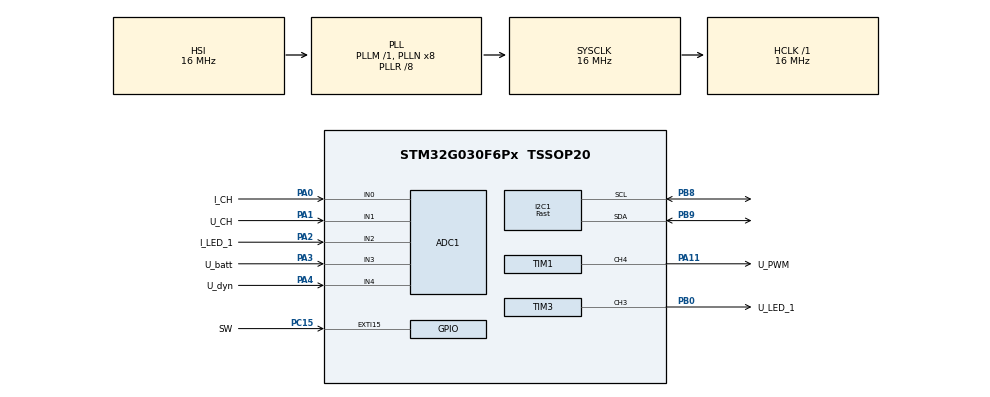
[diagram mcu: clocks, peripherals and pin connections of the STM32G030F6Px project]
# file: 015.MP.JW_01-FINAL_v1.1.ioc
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ADC1.Channel-0\#ChannelRegularConversion=ADC_CHANNEL_0
ADC1.Channel-1\#ChannelRegularConversion=ADC_CHANNEL_1
ADC1.Channel-2\#ChannelRegularConversion=ADC_CHANNEL_2
ADC1.Channel-3\#ChannelRegularConversion=ADC_CHANNEL_3
ADC1.Channel-4\#ChannelRegularConversion=ADC_CHANNEL_4
ADC1.ClockPrescaler=ADC_CLOCK_SYNC_PCLK_DIV4
ADC1.ContinuousConvMode=ENABLE
ADC1.DMAContinuousRequests=ENABLE
ADC1.EOCSelection=ADC_EOC_SINGLE_CONV
ADC1.LowPowerAutoWait=DISABLE
ADC1.NbrOfConversion=5
ADC1.NbrOfConversionFlag=1
ADC1.Overrun=ADC_OVR_DATA_PRESERVED
ADC1.OversamplingMode=ENABLE
ADC1.Rank-0\#ChannelRegularConversion=1
ADC1.Rank-1\#ChannelRegularConversion=2
ADC1.Rank-2\#ChannelRegularConversion=3
ADC1.Rank-3\#ChannelRegularConversion=4
ADC1.Rank-4\#ChannelRegularConversion=5
ADC1.Ratio=ADC_OVERSAMPLING_RATIO_256
ADC1.RightBitShift=ADC_RIGHTBITSHIFT_8
ADC1.SamplingTime-0\#ChannelRegularConversion=ADC_SAMPLINGTIME_COMMON_1
ADC1.SamplingTime-1\#ChannelRegularConversion=ADC_SAMPLINGTIME_COMMON_1
ADC1.SamplingTime-2\#ChannelRegularConversion=ADC_SAMPLINGTIME_COMMON_1
ADC1.SamplingTime-3\#ChannelRegularConversion=ADC_SAMPLINGTIME_COMMON_1
ADC1.SamplingTime-4\#ChannelRegularConversion=ADC_SAMPLINGTIME_COMMON_1
ADC1.SamplingTimeCommon1=ADC_SAMPLETIME_160CYCLES_5
ADC1.SamplingTimeCommon2=ADC_SAMPLETIME_160CYCLES_5
ADC1.SelectedChannel=ADC_CHANNEL_0|ADC_CHANNEL_1|ADC_CHANNEL_2|ADC_CHANNEL_3|ADC_CHANNEL_4
ADC1.TriggerFrequencyMode=ADC_TRIGGER_FREQ_LOW
ADC1.TriggeredMode=ADC_TRIGGEREDMODE_SINGLE_TRIGGER
ADC1.master=1
Dma.ADC1.0.Direction=DMA_PERIPH_TO_MEMORY
Dma.ADC1.0.EventEnable=DISABLE
Dma.ADC1.0.Instance=DMA1_Channel1
Dma.ADC1.0.MemDataAlignment=DMA_MDATAALIGN_WORD
Dma.ADC1.0.MemInc=DMA_MINC_ENABLE
Dma.ADC1.0.Mode=DMA_CIRCULAR
Dma.ADC1.0.PeriphDataAlignment=DMA_PDATAALIGN_WORD
Dma.ADC1.0.PeriphInc=DMA_PINC_DISABLE
Dma.ADC1.0.Polarity=HAL_DMAMUX_REQ_GEN_RISING
Dma.ADC1.0.Priority=DMA_PRIORITY_LOW
Dma.ADC1.0.RequestNumber=1
Dma.ADC1.0.SignalID=NONE
Dma.ADC1.0.SyncEnable=DISABLE
Dma.ADC1.0.SyncPolarity=HAL_DMAMUX_SYNC_NO_EVENT
Dma.ADC1.0.SyncRequestNumber=1
Dma.ADC1.0.SyncSignalID=NONE
Dma.Request0=ADC1
I2C1.I2C_Speed_Mode=I2C_Fast
I2C1.Timing=0x0010061A
Mcu.Family=STM32G0
Mcu.Name=STM32G030F6Px
Mcu.Package=TSSOP20
NVIC.DMA1_Channel1_IRQn=true\:2\:0\:true\:false\:true\:false\:true\:true
NVIC.EXTI4_15_IRQn=true\:1\:0\:true\:false\:true\:true\:true\:true
NVIC.TIM14_IRQn=true\:3\:0\:true\:false\:true\:true\:true\:true
PA0.GPIO_Label=I_CH
PA0.Mode=IN0
PA0.Signal=ADC1_IN0
PA1.GPIO_Label=U_CH
PA1.Mode=IN1
PA1.Signal=ADC1_IN1
PA11\ [PA9].GPIO_Label=U_PWM
PA11\ [PA9].Signal=S_TIM1_CH4
PA14-BOOT0__PA15.StandardMode=true
PA2.GPIO_Label=I_LED_1
PA2.Mode=IN2
PA2.Signal=ADC1_IN2
PA3.GPIO_Label=U_batt
PA3.Mode=IN3
PA3.Signal=ADC1_IN3
PA4.GPIO_Label=U_dyn
PA4.Mode=IN4
PA4.Signal=ADC1_IN4
PB0.GPIO_Label=U_LED_1
PB0.Signal=S_TIM3_CH3
PB0__PB1__PB2__PA8.StandardMode=true
PB3__PB4__PB5__PB6.StandardMode=true
PB7__PB8.StandardMode=true
PB8.Mode=I2C
PB8.Signal=I2C1_SCL
PB9.Mode=I2C
PB9.Signal=I2C1_SDA
PC14-OSC32_IN\ (PC14)__PB9.StandardMode=true
PC15-OSC32_OUT\ (PC15).GPIO_Label=SW
PC15-OSC32_OUT\ (PC15).GPIO_ModeDefaultEXTI=GPIO_MODE_IT_FALLING
PC15-OSC32_OUT\ (PC15).GPIO_PuPd=GPIO_PULLUP
PC15-OSC32_OUT\ (PC15).Signal=GPXTI15
ProjectManager.HeapSize=0x200
ProjectManager.StackSize=0x400
ProjectManager.TargetToolchain=STM32CubeIDE
RCC.ADCCLockSelection=RCC_ADCCLKSOURCE_PLLADC
RCC.ADCFreq_Value=4000000
RCC.AHBFreq_Value=16000000
RCC.CortexFreq_Value=16000000
RCC.EXTERNAL_CLOCK_VALUE=12288000
RCC.HCLKFreq_Value=16000000
RCC.HSE_VALUE=8000000
RCC.HSI_VALUE=16000000
RCC.LSE_VALUE=32768
RCC.PLLP=RCC_PLLP_DIV32
RCC.PLLR=RCC_PLLR_DIV8
RCC.SYSCLKFreq_VALUE=16000000
RCC.SYSCLKSource=RCC_SYSCLKSOURCE_PLLCLK
RCC.VCOOutputFreq_Value=128000000
SH.S_TIM1_CH4.0=TIM1_CH4,PWM Generation4 CH4
SH.S_TIM3_CH3.0=TIM3_CH3,PWM Generation3 CH3
TIM1.AutoReloadPreload=TIM_AUTORELOAD_PRELOAD_ENABLE
TIM1.Channel-PWM\ Generation4\ CH4=TIM_CHANNEL_4
TIM1.Period=159
TIM1.Prescaler=1
TIM14.AutoReloadPreload=TIM_AUTORELOAD_PRELOAD_ENABLE
TIM14.Channel=TIM_CHANNEL_1
TIM14.ClockDivision=TIM_CLOCKDIVISION_DIV4
TIM14.Period=399
TIM14.Prescaler=9999
TIM3.AutoReloadPreload=TIM_AUTORELOAD_PRELOAD_ENABLE
TIM3.Channel-PWM\ Generation3\ CH3=TIM_CHANNEL_3
TIM3.Period=99
TIM3.Prescaler=15
VP_TIM14_VS_ClockSourceINT.Mode=Enable_Timer
VP_TIM14_VS_no_output1.Mode=Output Compare1 No Output
VP_TIM3_VS_ClockSourceINT.Mode=Internal
board=custom

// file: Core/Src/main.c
/* USER CODE BEGIN Header */
/**
  ******************************************************************************
  * @file           : main.c
  * @brief          : Main program body
  ******************************************************************************
  * @attention
  *
  * Copyright (c) 2023 STMicroelectronics.
  * All rights reserved.
  *
  * This software is licensed under terms that can be found in the LICENSE file
  * in the root directory of this software component.
  * If no LICENSE file comes with this software, it is provided AS-IS.
  *
  ******************************************************************************
  */
/* USER CODE END Header */
#include "main.h"
#include "adc.h"
#include "dma.h"
#include "i2c.h"
#include "tim.h"
#include "gpio.h"

/* USER CODE BEGIN Includes */
#include "fonts.h"
#include "ssd1306.h"
#include "ftoa.h"

/* USER CODE END Includes */

/* USER CODE BEGIN PD */
//ad voltage divider
#define n_dyn 3.14f //dynamo
#define n_batt 3.14f//battery
#define n_U_USB_converter 3.14f//USB
//adc and pwm coeficients
#define i_current_out 350.0f //adc current output after converting
#define u_voltage_in 0.19f //adc voltage input before converting to current V
#define i_current_add 20.0f //correction factor for adc current measure mA
#define u_voltage_add 0.2f	//correction factor for adc current measure V
#define u_voltage_boost_factor 0.1f	//factor to control voltage from step up
#define i_usb_current_max 2500.0f	//usb max current mA
#define i_led_current_max 1000.0f	//led max current mA
#define i_noise 30.0f	//noise current value mA
#define u_max_d_b_voltage 10.f	//max voltage for battery and dynamo
#define u_voltage_bridge_d 0.7f	//voltage losses
#define u_d_voltage_load 4.0f	//dynamo load voltage
#define u_low_batt 3.4f	//low battery voltage
#define u_usb_min_out 4.50f	//min usb voltage output V
#define u_usb_max_out 6.0f	//max usb voltage output V
#define u_usb_ov_offset 0.5f	//offset to overvoltage in usb
#define i_usb_min_out	5 //minimal usb current output to work mA - to confirm connected device to usb port
#define vcc_manage_his	0.2f	//histeresa to vcc manage
#define usb_pwm_min 1		//min value pwm to boost converter usb %
#define usb_pwm_max	55  	//max value pwm to boost converter usb %
//power mode coeficients
//batt ok dynamo ok
#define u_batt_ok 3.6f	//batt voltage value ok
#define u_dynamo_ok 5.2f	//dynamo voltage value ok

#define led_power_mode_1 100	//%
#define usb_power_mode_1 100	//%
//batt ok dynamo nok
#define led_power_mode_2 70
#define usb_power_mode_2 50
//batt nok dynamo ok
#define led_power_mode_3 90
#define usb_power_mode_3 40
//batt nok dynamo nok
#define led_power_mode_4 70
#define usb_power_mode_4 30

//others
#define I_USB_max_1 1000 //USB max current output for mode USB
#define I_USB_max_2 600 //USB max current output for mode COM
#define I_LED1_max 600 //led current max mA
#define LED_max_1 100	//led max power for led mode
#define LED_max_2 70	//led max power for common mode
#define mes_size 5	//number adc channels
#define U_reff 3.27f //ref voltage, uC supply voltage V
#define res_adc 4096.0f//adc resolution
#define logn_click_time 3	//time for long click
#define blink_time 1	//time led blinking

/*
 * >>>>>>>>>>>>>>>>>>>>>>>>>>>>>>>>>>>>>>
 * add:
 * -long push for switch - WORK
 * -turn off screen - canceled
 * -blink led mode - WORK
 *
 * removed:
 * -low batt alert
 */

/* USER CODE END PD */

/* USER CODE BEGIN PV */
//general variables
uint8_t mode_short = 0; //switch short click
uint8_t mode_long = 0; //switch long click
uint8_t mode_vcc_led = 0; //led max power coeffcient
uint8_t mode_vcc_usb = 0; //usb max power coefficient

//text buffer
char snum[10];	// OLED
char OLED_txt [6];	//mode
char E_L_txt; //led error
char E_B_txt; //usb error
//buffer for data from adc
uint32_t value_conv[mes_size]; //fresh ADC
float value_voltage[mes_size]; //after converting ADC
//timer
uint8_t timer_counter_1 = 0;	//timer errors LED
uint8_t timer_counter_2 = 0;	//timer long click
uint8_t timer_counter_3 = 0;	//timer turn off oled

//USB
//current
uint16_t bb_pwm_set = 0; //boost converter set pwm value
uint16_t bb_current_set = 0; //boost converter set current value
uint16_t bb_current_mes = 0; //boost converter measure current value
//voltage
float bb_voltage_set = 0.0f; ///boost converter set voltage value
float bb_voltage_mes = 0.0f; ///boost converter measure voltage value
float bb_power_mes = 0.0f; //boost converter measure power
//errors
uint8_t bb_error = 0;	//error code
uint8_t bb_error_critical = 0;	//critical error code

//LED
uint16_t led_power_pwm= 0;	//led pwm
uint16_t led_power_mes= 0;	//led current measure
uint16_t led_power_set= 0;	//led current set
//errors
uint8_t led_error =0;	//error code
uint8_t led_error_critical =0;	//critical error code

//
/* USER CODE END PV */

void SystemClock_Config(void);
/* USER CODE BEGIN PFP */

//useful PFP
//map
long map(long x, long in_min, long in_max, long out_min, long out_max) {
  return (x - in_min) * (out_max - out_min) / (in_max - in_min) + out_min;
}
//float map
float map_f(float x, float in_min, float in_max, float out_min, float out_max) {
  return (x - in_min) * (out_max - out_min) / (in_max - in_min) + out_min;
}

//constrain
long constrain(long x,long  a,long b) {
    if(x < a) {
        return a;
    }
    else if(b < x) {
        return b;
    }
    else
        return x;
}

//float constrain
float constrain_f (float x,float  a,float b) {
    if(x < a) {
        return a;
    }
    else if(b < x) {
        return b;
    }
    else
        return x;
}

//ADC read and converting
void adc_read (void)
{

	//USB current- OK
	  value_voltage[0]=(U_reff/res_adc)*value_conv[0];
	  value_voltage[0]=map_f(value_voltage[0], 0.0f ,u_voltage_in,0.0f,i_current_out)+i_current_add;
	  if(value_voltage[0]<i_noise)
	 {
		  value_voltage[0]=0;
	  }
	  value_voltage[0] = constrain_f( value_voltage[0], 0.0f, i_usb_current_max);
	  bb_current_mes= value_voltage[0];

	  //USB voltage - OK
	  value_voltage[1]=(U_reff/res_adc)*value_conv[1];
	  value_voltage[1]=value_voltage[1]*n_U_USB_converter;
	  bb_voltage_mes = value_voltage[1] + u_voltage_add;

	  //LED current - OK
	  /*measured value
	   * 0,35A - load current
	   * 0,19V - pin adc voltage
	   */
	  value_voltage[2]=(U_reff/res_adc)*value_conv[2]; //voltage from resistor to current measure
	  value_voltage[2]=map_f(value_voltage[2], 0.0f ,u_voltage_in,0.0f,i_current_out)+i_current_add;
	  if(value_voltage[2]<i_noise)
	  {
		  value_voltage[2]=0;
	  }
	  value_voltage[2] = constrain_f( value_voltage[2], 0.0f, i_led_current_max);
	  led_power_mes = value_voltage[2];

	  //battery voltage - OK
	  value_voltage[3]=(U_reff/res_adc)*value_conv[3];
	  value_voltage[3]=(value_voltage[3]*n_batt);
	  value_voltage[3] = constrain_f(value_voltage[3], 0.0f ,u_max_d_b_voltage);

	  //dynamo voltage - OK
	  value_voltage[4]=(U_reff/res_adc)*value_conv[4];
	  value_voltage[4]=(value_voltage[4]*n_dyn);
	  value_voltage[4] = constrain_f(value_voltage[4], 0.0f ,u_max_d_b_voltage);

	  //diode voltage adding with load
	  if(value_voltage[4]>u_d_voltage_load)
	  {
		  value_voltage[4] = value_voltage[4] + u_voltage_bridge_d;
	  }

	  //boost converter calculation mA*V/1000
	  bb_power_mes = (bb_voltage_mes * bb_current_mes)/1000.0f;

}

//USB boost converter
void USB_charger (void)
{
	 //set the voltage in proportion to the current
	  if(bb_current_set<bb_current_mes)
	  {
	  bb_voltage_set=bb_voltage_set-u_voltage_boost_factor;
	  }
	  else if(bb_current_set>bb_current_mes)
	  {
	  bb_voltage_set=bb_voltage_set+u_voltage_boost_factor;
	  }
	  else
	  {
	  }
	  bb_voltage_set = constrain_f(bb_voltage_set, u_usb_min_out, u_usb_max_out);

	  //set pwm
	  if((bb_current_set!=0)&&(bb_error==0)&&(bb_error_critical==0))
		{

			if(bb_voltage_mes<bb_voltage_set)
			{
				bb_pwm_set++;
			}
			else if(bb_voltage_mes>bb_voltage_set)
			{
				bb_pwm_set--;
			}
			else
			{

			}
			bb_pwm_set = constrain(bb_pwm_set, ((160*usb_pwm_min)/100), ((160*usb_pwm_max)/100));	//set pwm range as additional condition

				//unplug additional protection

				 if((bb_voltage_mes>=u_usb_max_out)&&(bb_current_mes<=i_usb_min_out))
				 {

				 bb_pwm_set = 2;
				 }
				 else
				 {
				 //set pwm
				bb_pwm_set = bb_pwm_set;
				 }

		}
		else
		{
			bb_pwm_set = 0;
		}

	 __HAL_TIM_SET_COMPARE(&htim1, TIM_CHANNEL_4, bb_pwm_set); //set pwm
}

//led work
void LED_work (void)
{
		if((led_power_set!=0)&&(led_error==0)&&(led_error_critical==0))
		{
				led_power_mes = map( led_power_mes, 0, I_LED1_max, 0, 100 ); //change current range to pwm range, dependet upon max led current

				if(led_power_mes<led_power_set)
				{
					led_power_pwm++;
				}
				else if(led_power_mes>led_power_set)
				{
					led_power_pwm-- ;
				}
				else
				{
				}
		}
		else
		{
			led_power_pwm  = 0;
		}

	led_power_pwm = constrain ( led_power_pwm, 0, 100); //adjust pwm range to arr range
	__HAL_TIM_SET_COMPARE(&htim3, TIM_CHANNEL_3, led_power_pwm); //set pwm
}

//vcc control system
void vcc_managment (void)
{

	if((value_voltage[4]>u_dynamo_ok)&&(value_voltage[3]>u_batt_ok+vcc_manage_his)) //dynamo ok and batt ok
	{
		mode_vcc_led=led_power_mode_1;
		mode_vcc_usb=usb_power_mode_1;
	}
	else if ((value_voltage[4]<=u_dynamo_ok)&&(value_voltage[3]>u_batt_ok+vcc_manage_his))	//dynamo nok and batt ok
	{
		mode_vcc_led=led_power_mode_2;
		mode_vcc_usb=usb_power_mode_2;
	}
	else if ((value_voltage[4]>u_dynamo_ok)&&(value_voltage[3]<=u_batt_ok))	// dynamo ok and batt nok
	{
		mode_vcc_led=led_power_mode_3;
		mode_vcc_usb=usb_power_mode_3;
	}
	else if ((value_voltage[4]<u_dynamo_ok)&&(value_voltage[3]<=u_batt_ok))	//dynamo nok and batt nok
	{
		mode_vcc_led=led_power_mode_4;
		mode_vcc_usb=usb_power_mode_4;
	}
	else
	{

	}
}

//main screen with parameters
void OLED_main (void)
{
	  //batt voltage
	  SSD1306_GotoXY (0,0);
	  SSD1306_Puts ("U[V] ", &Font_6x8, 1);
	  SSD1306_Puts ("Bat ", &Font_6x8, 1);
	  ftoa(snum, value_voltage[3], 1);
	  SSD1306_Puts (snum, &Font_6x8, 1);

	  //dynamo voltage
	  SSD1306_Puts (" Dyn ", &Font_6x8, 1);
	  ftoa(snum, value_voltage[4], 1);
	  SSD1306_Puts (snum, &Font_6x8, 1);

	  //current mode
	  SSD1306_GotoXY (0,8);
	  SSD1306_Puts ("MODE: ", &Font_6x8, 1);
	  SSD1306_Puts (OLED_txt, &Font_6x8, 1);
	  //error code
	  if((led_error!=0)||(led_error_critical!=0)||(bb_error!=0)||(bb_error_critical!=0))
	  {
	  SSD1306_GotoXY (70,8);
	  SSD1306_Puts ("ErrLB", &Font_6x8, 1);
	  SSD1306_Putc (E_L_txt, &Font_6x8, 1);
	  SSD1306_Putc (E_B_txt, &Font_6x8, 1);
	  }
	  else
	  {
	  SSD1306_GotoXY (70,8);
      SSD1306_Puts ("       ", &Font_6x8, 1);
	  }

	  //led power/current
	  SSD1306_GotoXY (0,16);
	  SSD1306_Puts ("LED[%]: ", &Font_6x8, 1);
	  itoa(led_power_set,snum,10);
	  SSD1306_Puts (snum, &Font_6x8, 1);
	  SSD1306_Puts ("  ", &Font_6x8, 1);
	  SSD1306_Puts (" |mA ", &Font_6x8, 1);
	  itoa(led_power_mes,snum,10);
	  SSD1306_Puts (snum, &Font_6x8, 1);
	  SSD1306_Puts ("   ", &Font_6x8, 1);

	  //USB currents
	  SSD1306_GotoXY (0,24);
	  SSD1306_Puts ("USB[mA]: ", &Font_6x8, 1);
	  itoa(bb_current_mes,snum,10);
	  SSD1306_Puts (snum, &Font_6x8, 1);
	  SSD1306_Puts (" | ", &Font_6x8, 1);
	  itoa(bb_current_set,snum,10);
	  SSD1306_Puts (snum, &Font_6x8, 1);
	  SSD1306_Puts ("   ", &Font_6x8, 1);

	  SSD1306_UpdateScreen();
}

//diagnostic
void diagnostic (void)
{
	//led - value in mA in 0-100 range
	if(led_power_set!=0)
	{
		if(value_voltage[2]<5)
		{
			if(timer_counter_1>5)	//timer delay
			{
			led_error = 1;	//led circuit is open
			E_L_txt='1';
			}
		}
		/*
		else if(led_power_mes=<((led_power_set/2)-1)&&(led_power_set!=0))
		{
			if(timer_counter_1>10) //timer delay
			{
			led_error = 2;	//one led doesnt work
			E_L_txt[0]='2';
			}
		}
		*/
		else if(led_power_mes>(led_power_mes+10))
		{
			led_error = 3;	//short circuit
			E_L_txt='3';
			led_error_critical = 0;
		}
		else
		{
			led_error = 0;
			timer_counter_1=0;
		}
	}
	else
	{
		led_error = 0;
		timer_counter_1=0;
	}
	//set error code in text
	if(led_error>0)
	{
	//itoa(led_error,E_L_txt,10);
	}
	else
	{
	E_L_txt='0';
	}

	//usb/boost converter errors errors
	if((bb_current_set!=0)&&(bb_current_mes>(bb_current_set*2)))
	{
		bb_error = 3;	//zwarcie
		E_B_txt='3';
		bb_error_critical = 0;
	}
	else if((bb_current_set!=0)&&(bb_voltage_mes>(u_usb_max_out+u_usb_ov_offset) ))
	{

		bb_error = 4;	//zwarcie
		E_B_txt='4';
		bb_error_critical = 0;
	}
	else
	{
		bb_error = 0;
	}
	//set error code in text
	if(bb_error>0)
	{
	//itoa(bb_error,E_B_txt,10);
	}
	else
	{
	E_B_txt='0';
	}

}

//long click fir switch - no tested
void long_switch (void)
{

	if (HAL_GPIO_ReadPin(SW_GPIO_Port, SW_Pin)!=1)
	{
		if(timer_counter_2>=logn_click_time)
		{
			mode_long++;	//add long click interupt
			mode_short--;	//cancle short click interupt
			timer_counter_2=0;
		}
		else
		{

		}
	}
	else
	{
		timer_counter_2=0;
	}

	//reset state
	if(mode_long>=2)
	{
		mode_long =0;
	}
	else
	{

	}

}

/* USER CODE END PFP */

/* USER CODE BEGIN 0 */

//switch int
void HAL_GPIO_EXTI_Falling_Callback(uint16_t GPIO_Pin)
{
	if(GPIO_Pin == SW_Pin)
	{
		mode_short++;
		}
}

//timer int 1 s
void HAL_TIM_PeriodElapsedCallback(TIM_HandleTypeDef *htim) {
	if (htim->Instance == TIM14) {
		timer_counter_1++;	//timer for current control in errors function LED
		timer_counter_2++;	//timer for long click switch
		timer_counter_3++;	//timer for led blink
	}
}
/* USER CODE END 0 */

int main(void)
{

  /* MCU Configuration--------------------------------------------------------*/

  /* Reset of all peripherals, Initializes the Flash interface and the Systick. */
  HAL_Init();

  /* Configure the system clock */
  SystemClock_Config();

  /* Initialize all configured peripherals */
  MX_GPIO_Init();
  MX_DMA_Init();
  MX_ADC1_Init();
  MX_I2C1_Init();
  MX_TIM1_Init();
  MX_TIM3_Init();
  MX_TIM14_Init();
  /* USER CODE BEGIN 2 */

  //inits
   HAL_ADCEx_Calibration_Start(&hadc1);	//adc calibration
   HAL_ADC_Start_DMA(&hadc1, value_conv, mes_size); //adc dma
   HAL_TIM_PWM_Start(&htim1, TIM_CHANNEL_4); 	//active pwm 100 kHz
   HAL_TIM_PWM_Start(&htim3, TIM_CHANNEL_3); 	//active pwm 10 kHz
   HAL_TIM_Base_Start_IT(&htim14);	//activetimer 1 Hz
   SSD1306_Init(); //OLED

   //hello word
   SSD1306_GotoXY (10,10);
   SSD1306_Puts ("INICJALIZACJA",  &Font_6x8 , 1);
   SSD1306_DrawRectangle(0,0,128, 31,1);
   SSD1306_UpdateScreen();
   HAL_Delay (300);
   SSD1306_Clear();

  /* USER CODE END 2 */

  /* Infinite loop */
  while (1)
  {

    /* USER CODE BEGIN 3 */

	  adc_read(); //adc read and converting
	  vcc_managment(); //supply managment
	  long_switch();	//long swtich

	  //display color switch
	  if(mode_long>=1)
	  {
		  SSD1306_InvertDisplay(1);
	  }
	  else
	  {
		  SSD1306_InvertDisplay(0);
	  }

	  //mode selection
	  if(mode_short==0)
	  {
		  strcpy(OLED_txt,"OFF");
		  bb_current_set = 0;
		  led_power_set = 0;
	  }
	  else if(mode_short==1)
	  {
		  strcpy(OLED_txt,"LED");
		  bb_current_set = 0;
		  led_power_set = LED_max_1;
		  led_power_set = (led_power_set * mode_vcc_led)/100;

	  }
	  else if(mode_short==2)
	  {
		  strcpy(OLED_txt,"USB");
		  bb_current_set =  I_USB_max_1;
		  bb_current_set = (bb_current_set * mode_vcc_usb)/100;
		  led_power_set = 0;

	  }
	  else if(mode_short==3)
	  {
		  strcpy(OLED_txt,"COM");
		  bb_current_set = I_USB_max_2;
		  bb_current_set = (bb_current_set * mode_vcc_usb)/100;
		  led_power_set = LED_max_2;
		  led_power_set = (led_power_set * mode_vcc_led)/100;
	  }
	  else if(mode_short==4)
	  {
		  strcpy(OLED_txt,"BLK");
		  bb_current_set = 0;

		  if(timer_counter_3>blink_time)
		  {
		  led_power_set = LED_max_1;

			__HAL_TIM_SET_COMPARE(&htim3, TIM_CHANNEL_3, 100);
		  }
		  if(timer_counter_3>(blink_time*2))
		  {
		  led_power_set = 0;
		  timer_counter_3 = 0;

			__HAL_TIM_SET_COMPARE(&htim3, TIM_CHANNEL_3, 0);
		  }
	  }
	  else
	  {
		  mode_short=0;
	  }

		 OLED_main(); //show

	  	  //regular work
		  USB_charger(); //usb managment
		  LED_work();	//led managment
		  diagnostic();	//diagnostic

  }
  /* USER CODE END 3 */
}

void SystemClock_Config(void)
{
  RCC_OscInitTypeDef RCC_OscInitStruct = {0};
  RCC_ClkInitTypeDef RCC_ClkInitStruct = {0};

  /** Configure the main internal regulator output voltage
  */
  HAL_PWREx_ControlVoltageScaling(PWR_REGULATOR_VOLTAGE_SCALE1);

  /** Initializes the RCC Oscillators according to the specified parameters
  * in the RCC_OscInitTypeDef structure.
  */
  RCC_OscInitStruct.OscillatorType = RCC_OSCILLATORTYPE_HSI;
  RCC_OscInitStruct.HSIState = RCC_HSI_ON;
  RCC_OscInitStruct.HSIDiv = RCC_HSI_DIV1;
  RCC_OscInitStruct.HSICalibrationValue = RCC_HSICALIBRATION_DEFAULT;
  RCC_OscInitStruct.PLL.PLLState = RCC_PLL_ON;
  RCC_OscInitStruct.PLL.PLLSource = RCC_PLLSOURCE_HSI;
  RCC_OscInitStruct.PLL.PLLM = RCC_PLLM_DIV1;
  RCC_OscInitStruct.PLL.PLLN = 8;
  RCC_OscInitStruct.PLL.PLLP = RCC_PLLP_DIV32;
  RCC_OscInitStruct.PLL.PLLR = RCC_PLLR_DIV8;
  if (HAL_RCC_OscConfig(&RCC_OscInitStruct) != HAL_OK)
  {
    Error_Handler();
  }

  /** Initializes the CPU, AHB and APB buses clocks
  */
  RCC_ClkInitStruct.ClockType = RCC_CLOCKTYPE_HCLK|RCC_CLOCKTYPE_SYSCLK
                              |RCC_CLOCKTYPE_PCLK1;
  RCC_ClkInitStruct.SYSCLKSource = RCC_SYSCLKSOURCE_PLLCLK;
  RCC_ClkInitStruct.AHBCLKDivider = RCC_SYSCLK_DIV1;
  RCC_ClkInitStruct.APB1CLKDivider = RCC_HCLK_DIV1;

  if (HAL_RCC_ClockConfig(&RCC_ClkInitStruct, FLASH_LATENCY_0) != HAL_OK)
  {
    Error_Handler();
  }
}

void Error_Handler(void)
{
  __disable_irq();
  while (1)
  {
  }
}
